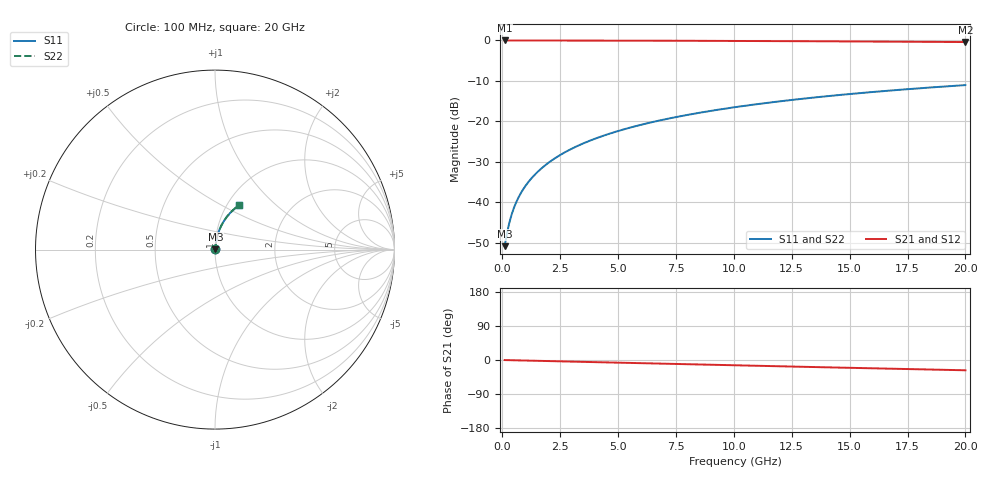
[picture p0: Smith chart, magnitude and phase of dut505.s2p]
! Touchstone file exported from HFSS 2026.1.0
!  File:  C:/ffzhzh/LocalFiles/Ansys_Project_Files/temp_train_TMRDL_505_1783006814_55676.aedt
!  Generated:  11:41:42 PM Jul  2, 2026
!  Design:  TMRDL
!  Project:  temp_train_TMRDL_505_1783006814_55676
! Variables:
!  h_bsmrdl = 2um
!  h_ox = 20um
!  h_rdl = 5um
!  h_sub = 80um
!  h_tmrdl = 2.24um
!  h_tsv = 80um
!  h_via = 3um
!  l_bsmrdl = 300um
!  l_sub = 737.23um
!  l_tmrdl = 337.23um
!  m_sub = 200um
!  pitch = 59.27um
!  r_tsv = 6um
!  s_tmrdl = 10um
!  w_bsmrdl = 18um
!  w_sub = 500um
!  w_tmrdl = 27.58um
!  x_tsv_center1 = 351.02um
!  x_tsv_center2 = 669.02um
!  x_tsv_center3 = 1033.83um
!  x_tsv_center4 = 1351.83um
!  x_tsv_center5 = 1716.64um
!  x_tsv_center6 = 2034.64um
# GHz S MA R 50.000000
! Terminal data exported
! Port[1] = TM_RDL1_1_T1
! Port[2] = TM_RDL1_1_T2
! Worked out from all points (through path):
!   200 points, 100 MHz to 20 GHz, reference 50 ohm
!   highest |S21| = -0.02 dB at 100 MHz (marker M1); lowest = -0.4 dB at 20 GHz (marker M2)
!   group delay of S21, straight-line fit = 3.77 ps
!   lowest |S11| = -50.8 dB at 100 MHz (marker M3), VSWR 1.01, Z = 50.2 + j0.167 ohm
!   |S11| at or under -10 dB: start of sweep to end of sweep
!   |S22| runs from -50.8 to -11.1 dB; largest |S21 - S12| = 3.5e-15
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0.1  0.002868 35.5  0.9977 -0.1  0.9977 -0.1  0.002868 35.5
! Gamma 0 0 0 0
! Port Impedance 50 0 50 0
0.2  0.004098 53.9  0.9976 -0.3  0.9976 -0.3  0.004098 53.9
0.3  0.005529 62.8  0.9975 -0.4  0.9975 -0.4  0.005529 62.8
0.4  0.007011 67.7  0.9974 -0.6  0.9974 -0.6  0.007011 67.7
0.5  0.008499 70.9  0.9973 -0.7  0.9973 -0.7  0.008499 70.9
0.6  0.009984 73.0  0.9972 -0.9  0.9972 -0.9  0.009984 73.0
0.8  0.01295 75.9  0.997 -1.2  0.997 -1.2  0.01295 75.9
1.1  0.0174 78.4  0.9968 -1.6  0.9968 -1.6  0.0174 78.4
1.3  0.02037 79.5  0.9967 -1.9  0.9967 -1.9  0.02037 79.5
1.6  0.02486 80.5  0.9966 -2.3  0.9966 -2.3  0.02486 80.5
2.1  0.03236 81.3  0.9963 -3.0  0.9963 -3.0  0.03236 81.3
2.7  0.04138 81.6  0.9959 -3.8  0.9959 -3.8  0.04138 81.6
3.5  0.05342 81.4  0.9952 -4.9  0.9952 -4.9  0.05342 81.4
4.2  0.06393 81.0  0.9945 -5.9  0.9945 -5.9  0.06393 81.0
5  0.07589 80.3  0.9935 -7.0  0.9935 -7.0  0.07589 80.3
5.9  0.08927 79.3  0.9923 -8.3  0.9923 -8.3  0.08927 79.3
6.8  0.1026 78.3  0.9908 -9.5  0.9908 -9.5  0.1026 78.3
8.3  0.1245 76.5  0.988 -11.6  0.988 -11.6  0.1245 76.5
10.1  0.1502 74.2  0.9841 -14.1  0.9841 -14.1  0.1502 74.2
13.4  0.196 69.9  0.9753 -18.5  0.9753 -18.5  0.196 69.9
16.7  0.2394 65.7  0.965 -22.9  0.965 -22.9  0.2394 65.7
20  0.2802 61.6  0.9534 -27.1  0.9534 -27.1  0.2802 61.6
